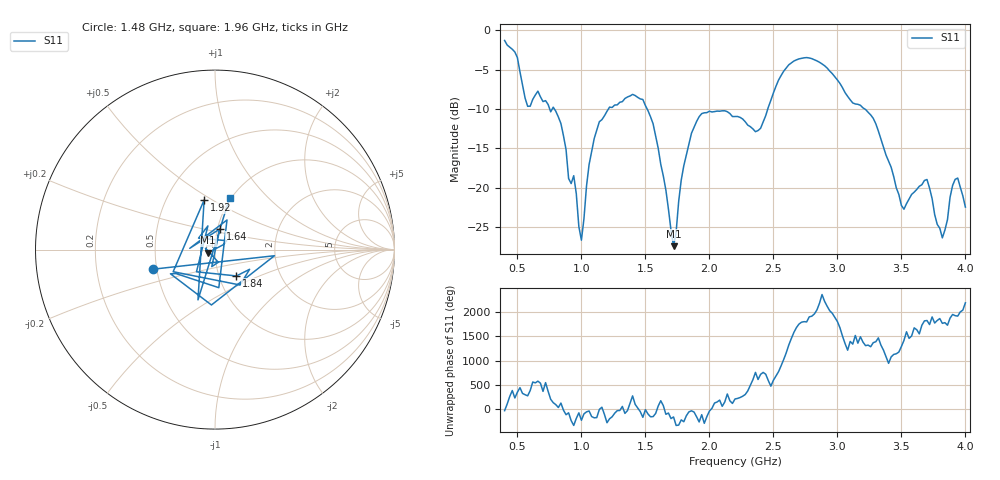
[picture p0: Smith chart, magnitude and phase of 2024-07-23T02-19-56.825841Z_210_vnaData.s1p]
!Created with skrf (http://scikit-rf.org).
# Hz S RI R 50.0
!freq ReS11 ImS11
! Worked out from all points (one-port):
!   181 points, 400 MHz to 4 GHz, reference 50 ohm
!   lowest |S11| = -27.5 dB at 1.72 GHz (marker M1), VSWR 1.09, Z = 46.3 - j1.63 ohm
!   |S11| at or under -10 dB: 789.2 MHz to 1.211 GHz (421.5 MHz wide, 42.2 % of centre); 1.514 GHz to 2.456 GHz (942 MHz wide, 47.5 % of centre); 3.214 GHz to end of sweep (the widest 3 of 4)
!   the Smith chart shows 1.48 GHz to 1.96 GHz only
!   S11 on the Smith chart (normalised r, x): 1.48 GHz: 0.47, -0.12; 1.64 GHz: 1.03, +0.24; 1.84 GHz: 1.21, -0.37; 1.92 GHz: 0.77, +0.46; 1.96 GHz: 0.98, +0.62
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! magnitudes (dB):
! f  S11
! 400 MHz  -1.3
! 500 MHz  -3.5
! 580 MHz  -9.6
! 660 MHz  -7.7
! 860 MHz  -13.4
! 900 MHz  -18.8
! 940 MHz  -18.5
! 1 GHz  -26.7
! 1.1 GHz  -13.8
! 1.3 GHz  -9.1
! 1.48 GHz  -8.8
! 1.64 GHz  -18.5
! 1.72 GHz  -27.5
! 1.76 GHz  -21.7
! 1.84 GHz  -14.5
! 1.92 GHz  -11.0
! 1.96 GHz  -10.5
! 2.2 GHz  -11.0
! 2.4 GHz  -12.4
! 2.66 GHz  -3.9
! 3.1 GHz  -8.8
! 3.28 GHz  -11.2
! 3.5 GHz  -22.3
! 3.56 GHz  -21.5
! 3.7 GHz  -19.0
! 3.82 GHz  -26.4
! 3.92 GHz  -18.9
! 4 GHz  -22.5
